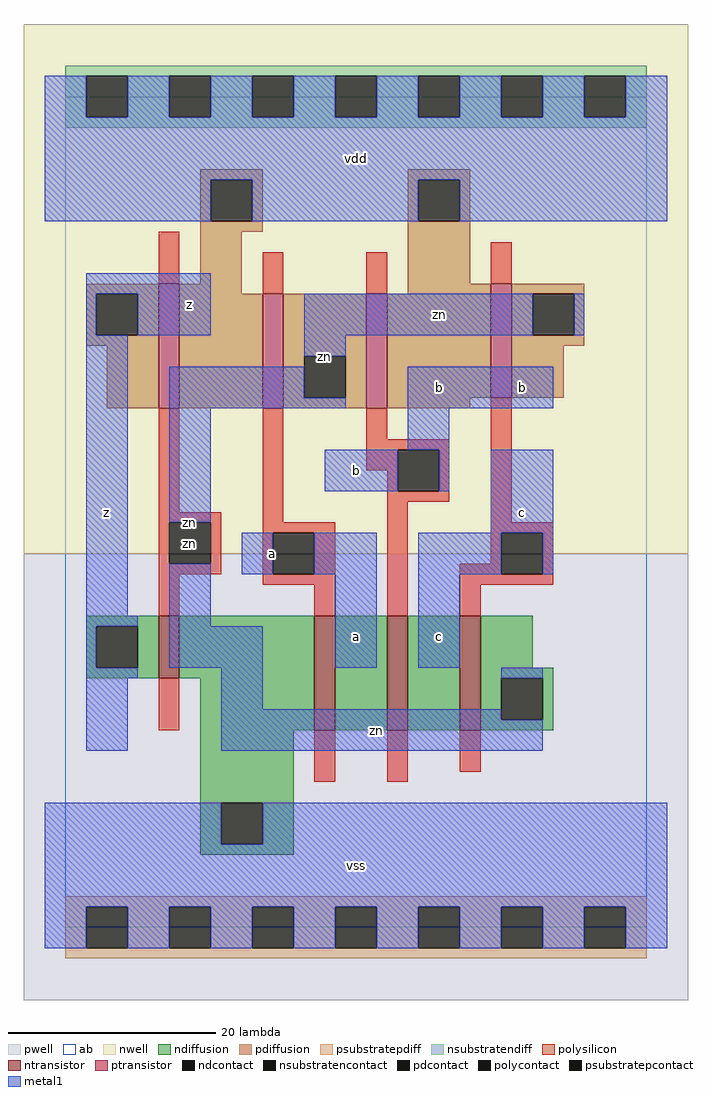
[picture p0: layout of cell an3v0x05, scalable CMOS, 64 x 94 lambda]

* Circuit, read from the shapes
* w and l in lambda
.subckt an3v0x05 a b c vdd vss z zn
M1 vss zn z vss nfet w=6 l=2
M2 n1 a vss vss nfet w=11 l=2
M3 n2 b n1 vss nfet w=11 l=2
M4 zn c n2 vss nfet w=11 l=2
M5 vdd zn z vdd pfet w=12 l=2
M6 zn a vdd vdd pfet w=11 l=2
M7 vdd b zn vdd pfet w=11 l=2
M8 zn c vdd vdd pfet w=11 l=2
.ends

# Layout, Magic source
magic
tech scmos
<< ab >>
rect 0 0 56 80
<< pwell >>
rect -4 -7 60 36
<< nwell >>
rect -4 36 60 87
<< polysilicon >>
rect 9 62 11 67
rect 19 61 21 65
rect 29 61 31 65
rect 41 62 43 66
rect 9 40 11 50
rect 9 39 15 40
rect 9 35 10 39
rect 14 35 15 39
rect 9 34 15 35
rect 19 39 21 50
rect 29 47 31 50
rect 29 46 37 47
rect 29 44 32 46
rect 31 42 32 44
rect 36 42 37 46
rect 31 41 37 42
rect 19 38 26 39
rect 19 34 20 38
rect 24 34 26 38
rect 9 30 11 34
rect 19 33 26 34
rect 24 30 26 33
rect 31 30 33 41
rect 41 39 43 51
rect 41 38 47 39
rect 41 35 42 38
rect 38 34 42 35
rect 46 34 47 38
rect 38 33 47 34
rect 38 30 40 33
rect 9 19 11 24
rect 24 14 26 19
rect 31 14 33 19
rect 38 15 40 19
<< ndiffusion >>
rect 2 29 9 30
rect 2 25 3 29
rect 7 25 9 29
rect 2 24 9 25
rect 11 24 24 30
rect 13 19 24 24
rect 26 19 31 30
rect 33 19 38 30
rect 40 25 45 30
rect 40 24 47 25
rect 40 20 42 24
rect 46 20 47 24
rect 40 19 47 20
rect 13 12 22 19
rect 13 8 15 12
rect 19 8 22 12
rect 13 7 22 8
<< pdiffusion >>
rect 13 72 19 73
rect 13 68 14 72
rect 18 68 19 72
rect 13 67 19 68
rect 33 72 39 73
rect 33 68 34 72
rect 38 68 39 72
rect 13 62 17 67
rect 2 61 9 62
rect 2 57 3 61
rect 7 57 9 61
rect 2 56 9 57
rect 4 50 9 56
rect 11 61 17 62
rect 33 62 39 68
rect 33 61 41 62
rect 11 50 19 61
rect 21 55 29 61
rect 21 51 23 55
rect 27 51 29 55
rect 21 50 29 51
rect 31 51 41 61
rect 43 61 50 62
rect 43 57 45 61
rect 49 57 50 61
rect 43 56 50 57
rect 43 51 48 56
rect 31 50 39 51
<< metal1 >>
rect -2 78 2 82
rect 6 78 10 82
rect 14 78 18 82
rect 22 78 26 82
rect 30 78 34 82
rect 38 78 42 82
rect 46 78 50 82
rect 54 78 58 82
rect -2 72 58 78
rect -2 68 14 72
rect 18 68 34 72
rect 38 68 58 72
rect 2 61 14 63
rect 2 57 3 61
rect 7 57 14 61
rect 23 57 45 61
rect 49 57 50 61
rect 2 30 6 57
rect 23 55 27 57
rect 10 51 23 54
rect 10 50 27 51
rect 33 50 47 54
rect 10 39 14 50
rect 33 46 37 50
rect 25 42 32 46
rect 36 42 37 46
rect 41 38 47 46
rect 2 29 7 30
rect 2 25 3 29
rect 10 29 14 35
rect 17 34 20 38
rect 24 34 30 38
rect 10 25 19 29
rect 26 25 30 34
rect 34 34 42 38
rect 46 34 47 38
rect 34 25 38 34
rect 2 24 7 25
rect 2 17 6 24
rect 15 21 19 25
rect 42 24 46 25
rect 15 20 42 21
rect 15 17 46 20
rect -2 8 15 12
rect 19 8 58 12
rect -2 2 58 8
rect -2 -2 2 2
rect 6 -2 10 2
rect 14 -2 18 2
rect 22 -2 26 2
rect 30 -2 34 2
rect 38 -2 42 2
rect 46 -2 50 2
rect 54 -2 58 2
<< ntransistor >>
rect 9 24 11 30
rect 24 19 26 30
rect 31 19 33 30
rect 38 19 40 30
<< ptransistor >>
rect 9 50 11 62
rect 19 50 21 61
rect 29 50 31 61
rect 41 51 43 62
<< polycontact >>
rect 10 35 14 39
rect 32 42 36 46
rect 20 34 24 38
rect 42 34 46 38
<< ndcontact >>
rect 3 25 7 29
rect 42 20 46 24
rect 15 8 19 12
<< pdcontact >>
rect 14 68 18 72
rect 34 68 38 72
rect 3 57 7 61
rect 23 51 27 55
rect 45 57 49 61
<< psubstratepcontact >>
rect 2 -2 6 2
rect 10 -2 14 2
rect 18 -2 22 2
rect 26 -2 30 2
rect 34 -2 38 2
rect 42 -2 46 2
rect 50 -2 54 2
<< nsubstratencontact >>
rect 2 78 6 82
rect 10 78 14 82
rect 18 78 22 82
rect 26 78 30 82
rect 34 78 38 82
rect 42 78 46 82
rect 50 78 54 82
<< psubstratepdiff >>
rect 0 2 56 3
rect 0 -2 2 2
rect 6 -2 10 2
rect 14 -2 18 2
rect 22 -2 26 2
rect 30 -2 34 2
rect 38 -2 42 2
rect 46 -2 50 2
rect 54 -2 56 2
rect 0 -3 56 -2
<< nsubstratendiff >>
rect 0 82 56 83
rect 0 78 2 82
rect 6 78 10 82
rect 14 78 18 82
rect 22 78 26 82
rect 30 78 34 82
rect 38 78 42 82
rect 46 78 50 82
rect 54 78 56 82
rect 0 77 56 78
<< labels >>
rlabel polycontact 12 37 12 37 6 zn
rlabel metal1 4 40 4 40 6 z
rlabel metal1 12 39 12 39 6 zn
rlabel metal1 12 60 12 60 6 z
rlabel metal1 28 6 28 6 6 vss
rlabel metal1 28 28 28 28 6 a
rlabel metal1 20 36 20 36 6 a
rlabel metal1 28 44 28 44 6 b
rlabel metal1 25 55 25 55 6 zn
rlabel metal1 28 74 28 74 6 vdd
rlabel metal1 36 28 36 28 6 c
rlabel metal1 30 19 30 19 6 zn
rlabel metal1 44 40 44 40 6 c
rlabel metal1 44 52 44 52 6 b
rlabel metal1 36 52 36 52 6 b
rlabel metal1 36 59 36 59 6 zn
<< end >>
